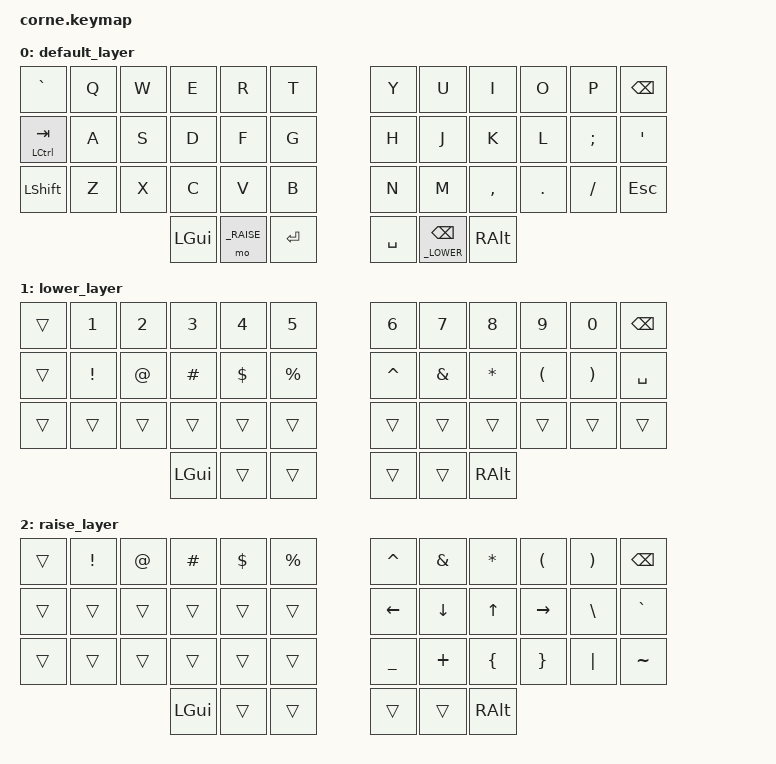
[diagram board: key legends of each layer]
/*
 * Copyright (c) 2020 The ZMK Contributors
 *
 * SPDX-License-Identifier: MIT
 */

#include <behaviors.dtsi>
#include <dt-bindings/zmk/keys.h>
#include <dt-bindings/zmk/bt.h>

#define _BASE 0
#define _LOWER 1
#define _RAISE 2
#define _ADJUST 3

#define LOWER  MO(_LOWER)
#define LOWENT LT(_LOWER, RET)
#define LOWBK  &lt _LOWER BSPC
#define RAISE  MO(_RAISE)
#define RAISBK &lt _RAISE BSPC
#define ADJUST MO(_ADJUST)

#define TABSFT MT(MOD_LSFT, KC_TAB)

/ {
        behaviors {
                qt: quick_tap {
                    compatible = "zmk,behavior-hold-tap";
		    #binding-cells = <2>;
		    flavor = "hold-preferred";
		    tapping-term-ms = <400>;
		    quick-tap-ms = <200>;
		    bindings = <&kp>, <&kp>;
                };
                qmt: quick_mod_tap {
                    compatible = "zmk,behavior-hold-tap";
		    #binding-cells = <2>;
		    flavor = "hold-preferred";
		    tapping-term-ms = <400>;
		    quick-tap-ms = <200>;
		    bindings = <&mo>, <&kp>;
                };
        };
        keymap {
                compatible = "zmk,keymap";

                default_layer {
                        bindings = <
   &kp GRAVE     &kp Q &kp W &kp E &kp R &kp T   &kp Y &kp U  &kp I     &kp O   &kp P    &kp BSPC
   &mt LCTRL TAB &kp A &kp S &kp D &kp F &kp G   &kp H &kp J  &kp K     &kp L   &kp SEMI &kp SQT
   &kp LSHFT     &kp Z &kp X &kp C &kp V &kp B   &kp N &kp M  &kp COMMA &kp DOT &kp FSLH &kp ESC
                     &kp LGUI &mo _RAISE &kp RET   &kp SPACE &qmt _LOWER BSPC &kp RALT
                        >;
                };
                lower_layer {
                        bindings = <
   &trans     &kp N1       &kp N2       &kp N3       &kp N4       &kp N5       &kp N6    &kp N7   &kp N8    &kp N9   &kp N0   &kp BSPC
   &trans     &kp EXCL     &kp AT       &kp HASH     &kp DLLR     &kp PRCNT    &kp CARET &kp AMPS &kp ASTRK &kp LPAR &kp RPAR &kp SPACE
   &trans     &trans       &trans       &trans       &trans       &trans       &trans    &trans   &trans    &trans   &trans   &trans
                                    &kp LGUI     &trans       &trans      &trans     &trans   &kp RALT
                        >;
                };

                raise_layer {
                        bindings = <
   &trans    &kp EXCL &kp AT &kp HASH &kp DLLR &kp PRCNT   &kp CARET &kp AMPS  &kp ASTRK &kp LPAR &kp RPAR &kp BSPC
   &trans    &trans   &trans &trans   &trans   &trans      &kp LEFT &kp DOWN &kp UP  &kp RIGHT &kp BSLH &kp GRAVE
   &trans    &trans   &trans &trans   &trans   &trans      &kp UNDER &kp PLUS  &kp LBRC  &kp RBRC &kp PIPE &kp TILDE
                             &kp LGUI &trans   &trans      &trans   &trans    &kp RALT
                        >;
                };
        };
};
